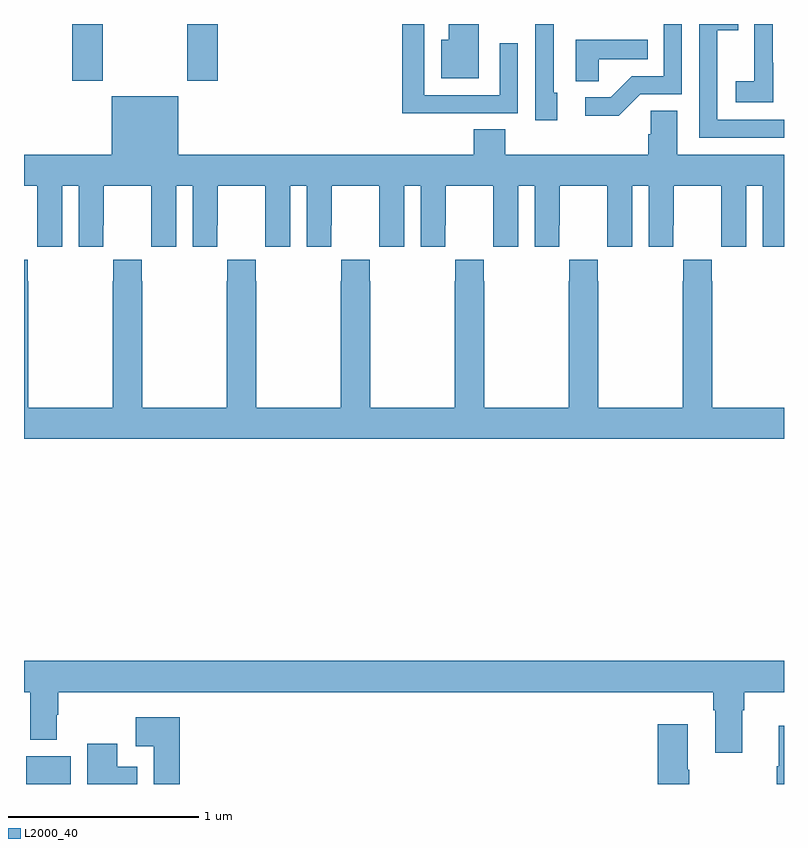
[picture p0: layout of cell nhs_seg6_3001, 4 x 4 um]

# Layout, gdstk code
import gdstk
lib = gdstk.Library(unit=1e-6, precision=1e-09)
def R(c, l, rs):  # rectangles x0, y0, x1, y1
    for r in rs: c.add(gdstk.rectangle(r[:2], r[2:], *l))
def P(c, l, *ps):  # polygons
    for p in ps: c.add(gdstk.Polygon(p, *l))
L2000_40 = (2000, 40)

nhs_seg6_3001 = lib.new_cell('nhs_seg6_3001')
R(nhs_seg6_3001, L2000_40, [(287.012,965.5,287.245,965.647), (287.255,969.201,287.415,969.5), (287.86,969.201,288.02,969.5)])
P(nhs_seg6_3001, L2000_40, [(291,968.997),(290.649,968.997),(290.649,969.466),(290.759,969.466),(290.759,969.5),(290.553,969.5),(290.553,968.901),(291,968.901)],
  [(289.807,969.138),(289.788,969.138),(289.788,969.5),(289.69,969.5),(289.69,969.487),(289.692,969.487),(289.692,968.994),(289.807,968.994)],
  [(290.943,969.295),(290.942,969.295),(290.942,969.5),(290.844,969.5),(290.844,969.428),(290.843,969.428),(290.843,969.199),(290.745,969.199),(290.745,969.089),(290.943,969.089)],
  [(290.244,969.129),(290.463,969.129),(290.463,969.5),(290.367,969.5),(290.367,969.225),(290.198,969.225),(290.087,969.114),(289.953,969.114),(289.953,969.017),(290.131,969.017)],
  [(289.393,969.5),(289.235,969.5),(289.235,969.418),(289.196,969.418),(289.196,969.215),(289.393,969.215)],
  [(289.283,969.03),(289.599,969.03),(289.599,969.4),(289.503,969.4),(289.503,969.126),(289.107,969.126),(289.107,969.5),(288.991,969.5),(288.991,969.029),(289.283,969.029)],
  [(290.025,969.314),(290.282,969.314),(290.282,969.418),(289.904,969.418),(289.904,969.199),(290.025,969.199)],
  [(287.2,968.648),(287.288,968.648),(287.288,968.328),(287.418,968.328),(287.418,968.44),(287.419,968.44),(287.419,968.648),(287.669,968.648),(287.669,968.44),(287.67,968.44),(287.67,968.328),(287.8,968.328),(287.8,968.648),(287.888,968.648),(287.888,968.328),(288.018,968.328),(288.018,968.44),(288.019,968.44),(288.019,968.648),(288.269,968.648),(288.269,968.44),(288.27,968.44),(288.27,968.328),(288.4,968.328),(288.4,968.648),(288.488,968.648),(288.488,968.328),(288.618,968.328),(288.618,968.44),(288.619,968.44),(288.619,968.648),(288.869,968.648),(288.869,968.44),(288.87,968.44),(288.87,968.328),(289,968.328),(289,968.648),(289.088,968.648),(289.088,968.328),(289.218,968.328),(289.218,968.44),(289.219,968.44),(289.219,968.648),(289.469,968.648),(289.469,968.44),(289.47,968.44),(289.47,968.328),(289.6,968.328),(289.6,968.648),(289.688,968.648),(289.688,968.328),(289.818,968.328),(289.818,968.44),(289.819,968.44),(289.819,968.648),(290.069,968.648),(290.069,968.44),(290.07,968.44),(290.07,968.328),(290.2,968.328),(290.2,968.648),(290.288,968.648),(290.288,968.328),(290.418,968.328),(290.418,968.44),(290.419,968.44),(290.419,968.648),(290.669,968.648),(290.669,968.44),(290.67,968.44),(290.67,968.328),(290.8,968.328),(290.8,968.648),(290.888,968.648),(290.888,968.328),(291,968.328),(291,968.812),(290.437,968.812),(290.437,969.044),(290.298,969.044),(290.298,968.921),(290.285,968.921),(290.285,968.812),(289.532,968.812),(289.532,968.945),(289.367,968.945),(289.367,968.812),(287.812,968.812),(287.812,969.121),(287.462,969.121),(287.462,968.812),(287,968.812),(287,968.648),(287.069,968.648),(287.069,968.44),(287.07,968.44),(287.07,968.328),(287.2,968.328)],
  [(291,967.48),(290.622,967.48),(290.622,968.147),(290.619,968.147),(290.619,968.26),(290.469,968.26),(290.469,968.147),(290.467,968.147),(290.467,967.48),(290.022,967.48),(290.022,968.147),(290.019,968.147),(290.019,968.26),(289.869,968.26),(289.869,968.147),(289.867,968.147),(289.867,967.48),(289.422,967.48),(289.422,968.147),(289.419,968.147),(289.419,968.26),(289.269,968.26),(289.269,968.147),(289.267,968.147),(289.267,967.48),(288.822,967.48),(288.822,968.147),(288.819,968.147),(288.819,968.26),(288.669,968.26),(288.669,968.147),(288.667,968.147),(288.667,967.48),(288.222,967.48),(288.222,968.147),(288.219,968.147),(288.219,968.26),(288.069,968.26),(288.069,968.147),(288.067,968.147),(288.067,967.48),(287.622,967.48),(287.622,968.147),(287.619,968.147),(287.619,968.26),(287.469,968.26),(287.469,968.147),(287.467,968.147),(287.467,967.48),(287.022,967.48),(287.022,968.147),(287.019,968.147),(287.019,968.26),(287,968.26),(287,967.316),(291,967.316)],
  [(290.779,965.888),(290.792,965.888),(290.792,965.984),(291,965.984),(291,966.148),(287,966.148),(287,965.984),(287.033,965.984),(287.033,965.732),(287.173,965.732),(287.173,965.864),(287.181,965.864),(287.181,965.984),(290.627,965.984),(290.627,965.888),(290.639,965.888),(290.639,965.664),(290.779,965.664)],
  [(287.819,965.851),(287.589,965.851),(287.589,965.699),(287.684,965.699),(287.684,965.5),(287.819,965.5)],
  [(290.502,965.576),(290.494,965.576),(290.494,965.815),(290.336,965.815),(290.336,965.5),(290.502,965.5)],
  [(291,965.806),(290.972,965.806),(290.972,965.593),(290.961,965.593),(290.961,965.5),(291,965.5)],
  [(287.596,965.59),(287.491,965.59),(287.491,965.713),(287.333,965.713),(287.333,965.5),(287.596,965.5)])

lib.write_gds('nhs_seg6_3001.gds')
